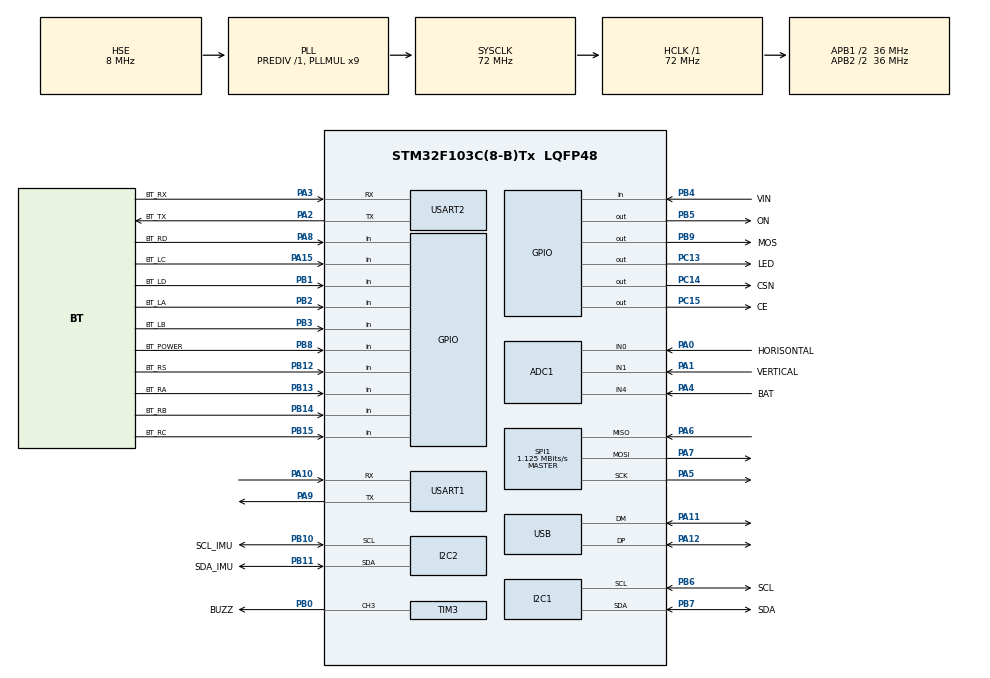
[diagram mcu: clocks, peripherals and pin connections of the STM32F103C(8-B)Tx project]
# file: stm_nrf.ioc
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ADC1.Channel-0\#ChannelRegularConversion=ADC_CHANNEL_0
ADC1.NbrOfConversionFlag=1
ADC1.Rank-0\#ChannelRegularConversion=1
ADC1.SamplingTime-0\#ChannelRegularConversion=ADC_SAMPLETIME_1CYCLE_5
ADC1.master=1
I2C1.I2C_Mode=I2C_Fast
I2C2.I2C_Mode=I2C_Fast
Mcu.Family=STM32F1
Mcu.Name=STM32F103C(8-B)Tx
Mcu.Package=LQFP48
NVIC.PriorityGroup=NVIC_PRIORITYGROUP_4
NVIC.USB_LP_CAN1_RX0_IRQn=true\:0\:0\:false\:false\:true\:false\:true
PA0-WKUP.GPIO_Label=HORISONTAL
PA0-WKUP.Signal=ADCx_IN0
PA1.GPIO_Label=VERTICAL
PA1.Signal=ADCx_IN1
PA10.Mode=Asynchronous
PA10.Signal=USART1_RX
PA11.Mode=Device
PA11.Signal=USB_DM
PA12.Mode=Device
PA12.Signal=USB_DP
PA13.Mode=Serial_Wire
PA13.Signal=SYS_JTMS-SWDIO
PA14.Mode=Serial_Wire
PA14.Signal=SYS_JTCK-SWCLK
PA15.GPIO_Label=BT_LC
PA15.Signal=GPIO_Input
PA2.GPIO_Label=BT_TX
PA2.Mode=Asynchronous
PA2.Signal=USART2_TX
PA3.GPIO_Label=BT_RX
PA3.Mode=Asynchronous
PA3.Signal=USART2_RX
PA4.GPIO_Label=BAT
PA4.Signal=ADCx_IN4
PA5.Mode=Full_Duplex_Master
PA5.Signal=SPI1_SCK
PA6.Mode=Full_Duplex_Master
PA6.Signal=SPI1_MISO
PA7.Mode=Full_Duplex_Master
PA7.Signal=SPI1_MOSI
PA8.GPIO_Label=BT_RD
PA8.Signal=GPIO_Input
PA9.Mode=Asynchronous
PA9.Signal=USART1_TX
PB0.GPIO_Label=BUZZ
PB0.Signal=S_TIM3_CH3
PB1.GPIO_Label=BT_LD
PB1.Signal=GPIO_Input
PB10.GPIO_Label=SCL_IMU
PB10.Mode=I2C
PB10.Signal=I2C2_SCL
PB11.GPIO_Label=SDA_IMU
PB11.Mode=I2C
PB11.Signal=I2C2_SDA
PB12.GPIO_Label=BT_RS
PB12.Signal=GPIO_Input
PB13.GPIO_Label=BT_RA
PB13.Signal=GPIO_Input
PB14.GPIO_Label=BT_RB
PB14.Signal=GPIO_Input
PB15.GPIO_Label=BT_RC
PB15.Signal=GPIO_Input
PB2.GPIO_Label=BT_LA
PB2.Signal=GPIO_Input
PB3.GPIO_Label=BT_LB
PB3.Signal=GPIO_Input
PB4.GPIO_Label=VIN
PB4.Signal=GPIO_Input
PB5.GPIO_Label=ON
PB5.Signal=GPIO_Output
PB6.GPIO_Label=SCL
PB6.Mode=I2C
PB6.Signal=I2C1_SCL
PB7.GPIO_Label=SDA
PB7.Mode=I2C
PB7.Signal=I2C1_SDA
PB8.GPIO_Label=BT_POWER
PB8.Signal=GPIO_Input
PB9.GPIO_Label=MOS
PB9.Signal=GPIO_Output
PC13-TAMPER-RTC.GPIO_Label=LED
PC13-TAMPER-RTC.Signal=GPIO_Output
PC14-OSC32_IN.GPIO_Label=CSN
PC14-OSC32_IN.Signal=GPIO_Output
PC15-OSC32_OUT.GPIO_Label=CE
PC15-OSC32_OUT.Signal=GPIO_Output
PD0-OSC_IN.Mode=HSE-External-Oscillator
PD0-OSC_IN.Signal=RCC_OSC_IN
PD1-OSC_OUT.Mode=HSE-External-Oscillator
PD1-OSC_OUT.Signal=RCC_OSC_OUT
ProjectManager.HeapSize=0x200
ProjectManager.StackSize=0x400
ProjectManager.TargetToolchain=STM32CubeIDE
RCC.ADCPresc=RCC_ADCPCLK2_DIV4
RCC.AHBFreq_Value=72000000
RCC.APB1CLKDivider=RCC_HCLK_DIV2
RCC.APB1Freq_Value=36000000
RCC.APB1TimFreq_Value=72000000
RCC.APB2CLKDivider=RCC_HCLK_DIV2
RCC.APB2Freq_Value=36000000
RCC.APB2TimFreq_Value=72000000
RCC.HCLKFreq_Value=72000000
RCC.PLLMUL=RCC_PLL_MUL9
RCC.SYSCLKFreq_VALUE=72000000
RCC.SYSCLKSource=RCC_SYSCLKSOURCE_PLLCLK
RCC.USBFreq_Value=48000000
RCC.USBPrescaler=RCC_USBCLKSOURCE_PLL_DIV1_5
SH.ADCx_IN0.0=ADC1_IN0,IN0
SH.ADCx_IN1.0=ADC1_IN1,IN1
SH.ADCx_IN4.0=ADC1_IN4,IN4
SH.S_TIM3_CH3.0=TIM3_CH3,PWM Generation3 CH3
SPI1.BaudRatePrescaler=SPI_BAUDRATEPRESCALER_32
SPI1.CalculateBaudRate=1.125 MBits/s
SPI1.Direction=SPI_DIRECTION_2LINES
SPI1.Mode=SPI_MODE_MASTER
SPI1.VirtualType=VM_MASTER
TIM3.Channel-PWM\ Generation3\ CH3=TIM_CHANNEL_3
USART1.VirtualMode=VM_ASYNC
USART2.VirtualMode=VM_ASYNC
USB_DEVICE.CLASS_NAME_FS=CDC
USB_DEVICE.VirtualMode=Cdc
USB_DEVICE.VirtualModeFS=Cdc_FS
VP_USB_DEVICE_VS_USB_DEVICE_CDC_FS.Mode=CDC_FS
board=custom

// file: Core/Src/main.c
/* USER CODE BEGIN Header */
/*

░░░░░██╗░█████╗░██╗░░░██╗░██████╗████████╗██╗░█████╗░██╗░░██╗
░░░░░██║██╔══██╗╚██╗░██╔╝██╔════╝╚══██╔══╝██║██╔══██╗██║░██╔╝
░░░░░██║██║░░██║░╚████╔╝░╚█████╗░░░░██║░░░██║██║░░╚═╝█████═╝░
██╗░░██║██║░░██║░░╚██╔╝░░░╚═══██╗░░░██║░░░██║██║░░██╗██╔═██╗░
╚█████╔╝╚█████╔╝░░░██║░░░██████╔╝░░░██║░░░██║╚█████╔╝██║░╚██╗
░╚════╝░░╚════╝░░░░╚═╝░░░╚═════╝░░░░╚═╝░░░╚═╝░╚════╝░╚═╝░░╚═╝

░░░░░██╗░░░░█████╗░░░░██████╗░░░░░█████╗░  ██╗░░░██╗░░███╗░░
░░░░░██║░░░██╔══██╗░░░██╔══██╗░░░██╔══██╗  ██║░░░██║░████║░░
░░░░░██║░░░██║░░██║░░░██║░░██║░░░██║░░██║  ╚██╗░██╔╝██╔██║░░
██╗░░██║░░░██║░░██║░░░██║░░██║░░░██║░░██║  ░╚████╔╝░╚═╝██║░░
╚█████╔╝██╗╚█████╔╝██╗██████╔╝██╗╚█████╔╝  ░░╚██╔╝░░███████╗
░╚════╝░╚═╝░╚════╝░╚═╝╚═════╝░╚═╝░╚════╝░  ░░░╚═╝░░░╚══════╝
*/
/* USER CODE END Header */

#include "main.h"
#include "usb_device.h"
/* USER CODE BEGIN Includes */
#include "my_usbd_customhid.h"
#include "my_usbd_custom_hid_if.h"
#include "my_icons.h"
#include "my_bitmaps.h"
#include "ssd1306.h"
#include "i2c-lcd.h"
#include "string.h"
#include "MY_NRF24.h"
#include "TJ_MPU6050.h"
/* USER CODE END Includes */

/* USER CODE BEGIN PTD */
#define FUNC_ACCEL_GYRO_DATA	128
#define FUNC_JOYSTICK_DATA		129
#define FUNC_ACCEL_GYRO_COMBO	130

#define ADS1115_ADDRESS 0x48

char Program_name[] = {
	'G','a','m','e','p','a','d',
	'S','M','i','c','r','o','m','o','u','s','e',
	'T','e','s','t','1',
	'T','e','s','t','2',
	'T','e','s','t','3',
	'T','e','s','t','4'};
int Program_length[] = {
	7,
	11,
	5,
	5,
	5,
	5,};
int Program_Count = 6;
int Program_Running;

char ADSwrite[6];

char Msg[16];
char Flag[8] = {0,0,0,0,0,0,0,0};
int IsHID = 0;
RawData_Def AccelData, GyroData;

uint64_t PipeAddres = 0x11223344AA;
char RF_RxData[32], RF_TxData[32], BadFunc;

uint8_t dataToSend[20] = {0x00, 0x14, 0x01, 0xEE, 0x0F, 0x00, 0x0F, 0x00, 0xFF, 0xFF, 0x00, 0x00, 0x00, 0x00, 0x00, 0x00, 0x00, 0x00, 0x00, 0x00};
//                        butns|size|     |     | lt  | rt  | lx        | ly        | rx        | ry        | unused
//                                    b10 & b9  & b7  & b8  & dr  & dl  & dd  & du
//

int Serial_Send(uint8_t* Buf, uint32_t *Len){
	CDC_Transmit_FS(Buf, Len);
	return &Len;
}

#define I2C1_SCL_Pin SCL_Pin
#define I2C1_SCL_GPIO_Port SCL_GPIO_Port
#define I2C1_SDA_Pin SDA_Pin
#define I2C1_SDA_GPIO_Port SDA_GPIO_Port

static bool wait_for_gpio_state_timeout(GPIO_TypeDef *port, uint16_t pin, GPIO_PinState state, uint32_t timeout)
 {
    uint32_t Tickstart = HAL_GetTick();
    bool ret = true;
    /* Wait until flag is set */
    for(;(state != HAL_GPIO_ReadPin(port, pin)) && (true == ret);)
    {
        /* Check for the timeout */
        if (timeout != HAL_MAX_DELAY)
        {
            if ((timeout == 0U) || ((HAL_GetTick() - Tickstart) > timeout))
            {
                ret = false;
            }
            else
            {
            }
        }
        asm("nop");
    }
    return ret;
}

static void I2C_ClearBusyFlagErratum(I2C_HandleTypeDef* handle, uint32_t timeout)
{
    GPIO_InitTypeDef GPIO_InitStructure;

    // 1. Clear PE bit.
    CLEAR_BIT(handle->Instance->CR1, I2C_CR1_PE);

    //  2. Configure the SCL and SDA I/Os as General Purpose Output Open-Drain, High level (Write 1 to GPIOx_ODR).
    HAL_I2C_DeInit(handle);

    GPIO_InitStructure.Mode = GPIO_MODE_OUTPUT_OD;
    GPIO_InitStructure.Pull = GPIO_NOPULL;

    GPIO_InitStructure.Pin = I2C1_SCL_Pin;
    HAL_GPIO_Init(GPIOB, &GPIO_InitStructure);

    GPIO_InitStructure.Pin = I2C1_SDA_Pin;
    HAL_GPIO_Init(I2C1_SDA_GPIO_Port, &GPIO_InitStructure);

    // 3. Check SCL and SDA High level in GPIOx_IDR.
    HAL_GPIO_WritePin(I2C1_SDA_GPIO_Port, I2C1_SDA_Pin, GPIO_PIN_SET);
    HAL_GPIO_WritePin(I2C1_SCL_GPIO_Port, I2C1_SCL_Pin, GPIO_PIN_SET);

    wait_for_gpio_state_timeout(I2C1_SCL_GPIO_Port, I2C1_SCL_Pin, GPIO_PIN_SET, timeout);
    wait_for_gpio_state_timeout(I2C1_SDA_GPIO_Port, I2C1_SDA_Pin, GPIO_PIN_SET, timeout);

    // 4. Configure the SDA I/O as General Purpose Output Open-Drain, Low level (Write 0 to GPIOx_ODR).
    HAL_GPIO_WritePin(I2C1_SDA_GPIO_Port, I2C1_SDA_Pin, GPIO_PIN_RESET);

    // 5. Check SDA Low level in GPIOx_IDR.
    wait_for_gpio_state_timeout(I2C1_SDA_GPIO_Port, I2C1_SDA_Pin, GPIO_PIN_RESET, timeout);

    // 6. Configure the SCL I/O as General Purpose Output Open-Drain, Low level (Write 0 to GPIOx_ODR).
    HAL_GPIO_WritePin(I2C1_SCL_GPIO_Port, I2C1_SCL_Pin, GPIO_PIN_RESET);

    // 7. Check SCL Low level in GPIOx_IDR.
    wait_for_gpio_state_timeout(I2C1_SCL_GPIO_Port, I2C1_SCL_Pin, GPIO_PIN_RESET, timeout);

    // 8. Configure the SCL I/O as General Purpose Output Open-Drain, High level (Write 1 to GPIOx_ODR).
    HAL_GPIO_WritePin(I2C1_SCL_GPIO_Port, I2C1_SCL_Pin, GPIO_PIN_SET);

    // 9. Check SCL High level in GPIOx_IDR.
    wait_for_gpio_state_timeout(I2C1_SCL_GPIO_Port, I2C1_SCL_Pin, GPIO_PIN_SET, timeout);

    // 10. Configure the SDA I/O as General Purpose Output Open-Drain , High level (Write 1 to GPIOx_ODR).
    HAL_GPIO_WritePin(I2C1_SDA_GPIO_Port, I2C1_SDA_Pin, GPIO_PIN_SET);

    // 11. Check SDA High level in GPIOx_IDR.
    wait_for_gpio_state_timeout(I2C1_SDA_GPIO_Port, I2C1_SDA_Pin, GPIO_PIN_SET, timeout);

    // 12. Configure the SCL and SDA I/Os as Alternate function Open-Drain.
    GPIO_InitStructure.Mode = GPIO_MODE_AF_OD;
    //MAT//GPIO_InitStructure.Alternate = GPIO_AF1_I2C1;

    GPIO_InitStructure.Pin = I2C1_SCL_Pin;
    HAL_GPIO_Init(I2C1_SCL_GPIO_Port, &GPIO_InitStructure);

    GPIO_InitStructure.Pin = I2C1_SDA_Pin;
    HAL_GPIO_Init(I2C1_SDA_GPIO_Port, &GPIO_InitStructure);

    // 13. Set SWRST bit in I2Cx_CR1 register.
    SET_BIT(handle->Instance->CR1, I2C_CR1_SWRST);
    asm("nop");

    /* 14. Clear SWRST bit in I2Cx_CR1 register. */
    CLEAR_BIT(handle->Instance->CR1, I2C_CR1_SWRST);
    asm("nop");

    /* 15. Enable the I2C peripheral by setting the PE bit in I2Cx_CR1 register */
    SET_BIT(handle->Instance->CR1, I2C_CR1_PE);
    asm("nop");

    // Call initialization function.
    HAL_I2C_Init(handle);
}
/*
static void I2C_ClearBusyFlagErratum2(I2C_HandleTypeDef* handle, uint32_t timeout)
{
    GPIO_InitTypeDef GPIO_InitStructure;

    // 1. Clear PE bit.
    CLEAR_BIT(handle->Instance->CR1, I2C_CR1_PE);

    //  2. Configure the SCL and SDA I/Os as General Purpose Output Open-Drain, High level (Write 1 to GPIOx_ODR).
    HAL_I2C_DeInit(handle);

    GPIO_InitStructure.Mode = GPIO_MODE_OUTPUT_OD;
    GPIO_InitStructure.Pull = GPIO_NOPULL;

    GPIO_InitStructure.Pin = I2C2_SCL_Pin;
    HAL_GPIO_Init(GPIOB, &GPIO_InitStructure);

    GPIO_InitStructure.Pin = I2C2_SDA_Pin;
    HAL_GPIO_Init(I2C2_SDA_GPIO_Port, &GPIO_InitStructure);

    // 3. Check SCL and SDA High level in GPIOx_IDR.
    HAL_GPIO_WritePin(I2C2_SDA_GPIO_Port, I2C2_SDA_Pin, GPIO_PIN_SET);
    HAL_GPIO_WritePin(I2C2_SCL_GPIO_Port, I2C2_SCL_Pin, GPIO_PIN_SET);

    wait_for_gpio_state_timeout(I2C2_SCL_GPIO_Port, I2C2_SCL_Pin, GPIO_PIN_SET, timeout);
    wait_for_gpio_state_timeout(I2C2_SDA_GPIO_Port, I2C2_SDA_Pin, GPIO_PIN_SET, timeout);

    // 4. Configure the SDA I/O as General Purpose Output Open-Drain, Low level (Write 0 to GPIOx_ODR).
    HAL_GPIO_WritePin(I2C2_SDA_GPIO_Port, I2C2_SDA_Pin, GPIO_PIN_RESET);

    // 5. Check SDA Low level in GPIOx_IDR.
    wait_for_gpio_state_timeout(I2C2_SDA_GPIO_Port, I2C2_SDA_Pin, GPIO_PIN_RESET, timeout);

    // 6. Configure the SCL I/O as General Purpose Output Open-Drain, Low level (Write 0 to GPIOx_ODR).
    HAL_GPIO_WritePin(I2C2_SCL_GPIO_Port, I2C2_SCL_Pin, GPIO_PIN_RESET);

    // 7. Check SCL Low level in GPIOx_IDR.
    wait_for_gpio_state_timeout(I2C2_SCL_GPIO_Port, I2C2_SCL_Pin, GPIO_PIN_RESET, timeout);

    // 8. Configure the SCL I/O as General Purpose Output Open-Drain, High level (Write 1 to GPIOx_ODR).
    HAL_GPIO_WritePin(I2C2_SCL_GPIO_Port, I2C2_SCL_Pin, GPIO_PIN_SET);

    // 9. Check SCL High level in GPIOx_IDR.
    wait_for_gpio_state_timeout(I2C2_SCL_GPIO_Port, I2C2_SCL_Pin, GPIO_PIN_SET, timeout);

    // 10. Configure the SDA I/O as General Purpose Output Open-Drain , High level (Write 1 to GPIOx_ODR).
    HAL_GPIO_WritePin(I2C2_SDA_GPIO_Port, I2C2_SDA_Pin, GPIO_PIN_SET);

    // 11. Check SDA High level in GPIOx_IDR.
    wait_for_gpio_state_timeout(I2C2_SDA_GPIO_Port, I2C2_SDA_Pin, GPIO_PIN_SET, timeout);

    // 12. Configure the SCL and SDA I/Os as Alternate function Open-Drain.
    GPIO_InitStructure.Mode = GPIO_MODE_AF_OD;
    //MAT//GPIO_InitStructure.Alternate = GPIO_AF1_I2C1;

    GPIO_InitStructure.Pin = I2C2_SCL_Pin;
    HAL_GPIO_Init(I2C2_SCL_GPIO_Port, &GPIO_InitStructure);

    GPIO_InitStructure.Pin = I2C1_SDA_Pin;
    HAL_GPIO_Init(I2C2_SDA_GPIO_Port, &GPIO_InitStructure);

    // 13. Set SWRST bit in I2Cx_CR1 register.
    SET_BIT(handle->Instance->CR1, I2C_CR1_SWRST);
    asm("nop");

    // 14. Clear SWRST bit in I2Cx_CR1 register.
    CLEAR_BIT(handle->Instance->CR1, I2C_CR1_SWRST);
    asm("nop");

    // 15. Enable the I2C peripheral by setting the PE bit in I2Cx_CR1 register
    SET_BIT(handle->Instance->CR1, I2C_CR1_PE);
    asm("nop");

    // Call initialization function.
    HAL_I2C_Init(handle);
}
*/
/* USER CODE END PTD */

ADC_HandleTypeDef hadc1;

I2C_HandleTypeDef hi2c1;
I2C_HandleTypeDef hi2c2;

SPI_HandleTypeDef hspi1;

TIM_HandleTypeDef htim3;

UART_HandleTypeDef huart1;
UART_HandleTypeDef huart2;

void SystemClock_Config(void);
static void MX_GPIO_Init(void);
static void MX_ADC1_Init(void);
static void MX_I2C1_Init(void);
static void MX_I2C2_Init(void);
static void MX_SPI1_Init(void);
static void MX_TIM3_Init(void);
static void MX_USART1_UART_Init(void);
static void MX_USART2_UART_Init(void);

/* USER CODE BEGIN 0 */
double MapValue(double Val, double FromLow,double FromHigh,double ToLow,double ToHigh){
	double out = ToLow + ((ToHigh - ToLow) / (FromHigh - FromLow)) * (Val - FromLow);
	if (out > ToHigh) out = ToHigh;
	if (out < ToLow) out - ToLow;
	return out;
}

void AdsRead(int16_t *buf){
	for (int a = 0; a < 4; a++){
		  ADSwrite[0] = 0x01;
		  switch(a){
		  case 0: {
			  ADSwrite[1] = 0xC1; // 11000011
			  break;
		  }
		  case 1: {
			  ADSwrite[1] = 0xD1; // 11010011
			  break;
		  }
		  case 2: {
			  ADSwrite[1] = 0xE1; // 11100011
			  break;
		  }
		  case 3: {
			  ADSwrite[1] = 0xF1; // 11110011
			  break;
		  }
		  }

		  ADSwrite[2] = 0xE3; // 10000011 // 10100011 // 11000011// 11100011
		  HAL_I2C_Master_Transmit(&hi2c2, ADS1115_ADDRESS<<1, ADSwrite, 3, 100);
		  ADSwrite[0] = 0x00;
		  HAL_I2C_Master_Transmit(&hi2c2, ADS1115_ADDRESS<<1, ADSwrite, 1, 100);
		  NRF24_DelayMicroSeconds(100);
		  HAL_I2C_Master_Receive(&hi2c2, ADS1115_ADDRESS<<1, ADSwrite, 2, 100);
		  buf[a] = (((int16_t)ADSwrite[0]) << 8 | ADSwrite[1]);
	  }
}

void AdcRead(int16_t *buf){
	HAL_ADC_Start(&hadc1);
	if (HAL_ADC_PollForConversion(&hadc1, 1000) == HAL_OK) {
		buf[0] = HAL_ADC_GetValue(&hadc1);
	}
	if (HAL_ADC_PollForConversion(&hadc1, 1000) == HAL_OK) {
		buf[1] = HAL_ADC_GetValue(&hadc1);
	}
	if (HAL_ADC_PollForConversion(&hadc1, 1000) == HAL_OK) {
		buf[2] = HAL_ADC_GetValue(&hadc1);
	}
	HAL_ADC_Stop(&hadc1);
}

void updateButtons()
{
	  int16_t Val[4];
	  AdsRead(Val);
	  Val[1] = (int16_t)MapValue(Val[1], 0, Val[0], 0, 10);
	  Val[2] = (int16_t)MapValue(Val[2], 0, Val[0], -32768, 32767);
	  Val[3] = (int16_t)MapValue(Val[3], 0, Val[0], -32768, 32767);
	  if ((Val[2] <= 3) && (Val[2] >= -3)) Val[2] = 0;
	  if ((Val[3] <= 3) && (Val[3] >= -3)) Val[3] = 0;
	  if (Val[1] > 5) Val[1] = 0; else Val[1] = 1;

	 int16_t Adc[3];
	 AdcRead(Adc);
	 Adc[0] = (int16_t)MapValue(Adc[0], 0, 4095, -32768, 32767);
	 Adc[1] = (int16_t)MapValue(Adc[1], 0, 4095, -32768, 32767);

	  ////////////////////////////////////////////////////////////////////////////////////////////////////
	// btns |rs|, |ls|, |select|, |start|, |dr|, |dl|, |dd|, |du|
	dataToSend[2] = 0;
	dataToSend[2] |= Val[1] << 0;
	dataToSend[2] |= !HAL_GPIO_ReadPin(BT_LC_GPIO_Port, BT_LC_Pin) << 1;
	dataToSend[2] |= !HAL_GPIO_ReadPin(BT_LB_GPIO_Port, BT_LB_Pin) << 2;
	dataToSend[2] |= !HAL_GPIO_ReadPin(BT_LD_GPIO_Port, BT_LD_Pin) << 3;
	//dataToSend[2] |= (readStart() & 1) << 4;
	//dataToSend[2] |= (readBack()  & 1) << 5;
	//dataToSend[2] |= (Val[1]  & 1) << 6;
	//dataToSend[2] |= (readRS() & 1) << 7;
	// btns |y|, |x|, |b|, |a|, _, _, |rb|, |lb|
	dataToSend[3] = 0;
	dataToSend[3] |= !HAL_GPIO_ReadPin(BT_LA_GPIO_Port, BT_LA_Pin)  & 1 << 0;
	dataToSend[3] |= !HAL_GPIO_ReadPin(BT_RA_GPIO_Port, BT_RA_Pin) << 1;
	//dataToSend[3] |= (Val[1] & 1) << 2;
	//dataToSend[3] |= (Val[1] & 1) << 3;
	dataToSend[3] |= !HAL_GPIO_ReadPin(BT_RC_GPIO_Port, BT_RC_Pin) << 4;
	dataToSend[3] |= !HAL_GPIO_ReadPin(BT_RB_GPIO_Port, BT_RB_Pin) << 5;
	dataToSend[3] |= !HAL_GPIO_ReadPin(BT_RD_GPIO_Port, BT_RD_Pin) << 6;
	dataToSend[3] |= !HAL_GPIO_ReadPin(BT_RS_GPIO_Port, BT_RS_Pin) << 7;
	// left & right triggers
	dataToSend[4] = 0; //left
	dataToSend[5] = 0; //right
	//lx
	dataToSend[6] = Val[3] & 0xFF;
	dataToSend[7] = (Val[3] >> 8) & 0xFF;
	// ly
	dataToSend[8] = Val[2] & 0xFF;
	dataToSend[9] = (Val[2] >> 8) & 0xFF;
	// rx
	dataToSend[10] = Adc[1] & 0xFF;
	dataToSend[11] = (Adc[1] >> 8) & 0xFF;
	// ry
	dataToSend[12] = Adc[0] & 0xFF;
	dataToSend[13] = (Adc[0] >> 8) & 0xFF;
}

void UlToStr(char *s, unsigned long bin, unsigned char n)
{
    s += n;
    *s = '\0';

    while (n--)
    {
        *--s = (bin % 10) + '0';
        bin /= 10;
    }
}

void Serial_Recived(uint8_t* Buf, uint32_t *Len){
	switch(Buf[0]){
	case '0': {
		HAL_GPIO_WritePin(LED_GPIO_Port, LED_Pin, 1);
		Msg[0] = 'O';
		Msg[1] = 'N';
		Serial_Send(Msg, 2);
		break;
	}
	case '1': {
		HAL_GPIO_WritePin(LED_GPIO_Port, LED_Pin, 0);
		Msg[0] = 'O';
		Msg[1] = 'F';
		Serial_Send(Msg, 2);
		break;
	}
	case '2': {
		HAL_GPIO_WritePin(LED_GPIO_Port, LED_Pin, 0);
		Msg[0] = FUNC_ACCEL_GYRO_DATA;
		Serial_Send(Msg, 1);
		break;
	}
	case '3': {
		HAL_GPIO_WritePin(LED_GPIO_Port, LED_Pin, 0);
		int16_t Ax = 1024;
		int16_t Ay = -1024;
		int16_t Az = 32767;
		int16_t Gx = -32767;
		int16_t Gy = 255;
		int16_t Gz = -255;
		Msg[0] = FUNC_ACCEL_GYRO_DATA;
		Msg[1] = (char)Ax;
		Msg[2] = (char)(Ax >> 8);
		Msg[3] = (char)Ay;
		Msg[4] = (char)(Ay >> 8);
		Msg[5] = (char)Az;
		Msg[6] = (char)(Az >> 8);
		Msg[7] = (char)Gx;
		Msg[8] = (char)(Gx >> 8);
		Msg[9] = (char)Gy;
		Msg[10] = (char)(Gy >> 8);
		Msg[11] = (char)Gz;
		Msg[12] = (char)(Gz >> 8);

		Serial_Send(Msg, 13);
	}
	case 'a': {
		Flag[0] = 1;
		break;
	}
	case 'b': {
		Flag[1] = 1;
		break;
	}
	case 'B': {
		Flag[1] = 0;
		break;
	}
	case 'c': {
		Flag[2] = 1;
		break;
	}
	case 'd': {
		Flag[3] = 1;
		break;
	}
	case 'D': {
		Flag[3] = 0;
		break;
	}
	case FUNC_JOYSTICK_DATA: {
		//Flag[4] = 1;
		//BadFunc = 0;
		// Funkcja FUNC_JOYSTICK_DATA
		RF_TxData[0] = FUNC_JOYSTICK_DATA;
		RF_TxData[1] = Buf[1];
		RF_TxData[2] = Buf[2];
		RF_TxData[3] = Buf[3];
		RF_TxData[4] = Buf[4];
		break;
	}
	default: {
		if (Buf[0] >= 128){
			RF_TxData[0] = Buf[0];
			for (int a = 1; a < *Len; a ++){
				RF_TxData[a] = Buf[a];
			}
		}else {
			Flag[4] = 1;
			BadFunc = Buf[0];
		}
	}
	}
}

// Fast = 0 -> wykona sie rysowanie na ekranie
// Fast = 1 -> Wykona sie tylko sprawdzenie napiecia beterii
void Update(int Fast){
	if (HAL_GPIO_ReadPin(VIN_GPIO_Port, VIN_Pin)){
		// Zasilanie na USB
		HAL_GPIO_WritePin(ON_GPIO_Port, ON_Pin, 0);
		if (HAL_GPIO_ReadPin(BT_POWER_GPIO_Port, BT_POWER_Pin)){
			// Mosfet i tak przeskoczy, przerwa w zasilaniu zresetuje procka
		}
		// Ikona zasilania z usb
		if (Fast < 1){
			SSD1306_DrawIcon16x16(0,48, plug_icon16x16);
			SSD1306_UpdateScreen();
		}
	} else {
		// Zasilanie na Baterii
		if (HAL_GPIO_ReadPin(BT_POWER_GPIO_Port, BT_POWER_Pin)){
			// Wyłączyć
			SSD1306_Fill(0);
			SSD1306_GotoXY(20, 20);
			SSD1306_Puts("Byo :D", &Font_16x26, 1);
			SSD1306_UpdateScreen();
			HAL_Delay(1000);
			HAL_GPIO_WritePin(ON_GPIO_Port, ON_Pin, 0);
			HAL_Delay(1000);
		} else {
			// Ikona naładowania
			HAL_GPIO_WritePin(ON_GPIO_Port, ON_Pin, 1);
			int16_t Val[3];
			AdcRead(Val);
			int bat = MapValue(Val[2], 0,4095 , 0, 1000);
			if (Fast < 1){
				if (bat > 390) {
					SSD1306_DrawIcon16x16(0,48, bat3_icon16x16);
				} else if (bat > 360) {
					SSD1306_DrawIcon16x16(0,48, bat2_icon16x16);
				} else if (bat > 330) {
					SSD1306_DrawIcon16x16(0,48, bat1_icon16x16);
				} else if (bat > 300) {
					SSD1306_DrawIcon16x16(0,48, bat0_icon16x16);
				}
			}
			if (bat <= 300){
				// Bateria rozładowana, wyłączenie
				SSD1306_Fill(0);
				SSD1306_GotoXY(20, 20);
				SSD1306_Puts("Battery", &Font_16x26, 1);
				SSD1306_GotoXY(20, 40);
				SSD1306_Puts("is flat", &Font_16x26, 1);
				SSD1306_UpdateScreen();
				HAL_Delay(1000);
				//SSD1306_DrawIcon16x16(0,48, cancel_icon16x16);
				//HAL_GPIO_WritePin(ON_GPIO_Port, ON_Pin, 0);
				//HAL_Delay(3000);
			}
			//SSD1306_UpdateScreen();
		}
	}
	if (Fast < 1){
		SSD1306_UpdateScreen();
		SSD1306_Fill(0);
	}
}

void Begin(){
	SSD1306_Fill(0);
	SSD1306_DrawBitmap(0, 0, logo_128x64, 128, 64);
	SSD1306_UpdateScreen();
	HAL_Delay(1000);
}

int SelectProgram(){
	int s_row = 0;
	int sel = 0;
	int B = 0;
	int D = 0;
	while(1){
		SSD1306_Fill(0);
		SSD1306_GotoXY(0, 0);
		SSD1306_Puts("Program Sel", &Font_11x18, 1);
		int start = 0;
		for (int a = 0; a < s_row; a++){
			start+=Program_length[a];
		}
		for (int num = 0; num < 3; num++){
			if (num + s_row > Program_Count-1) break;
			SSD1306_GotoXY(20, 20 + num*16);
			for (int c = 0; c < Program_length[s_row+num]; c++){
				SSD1306_Putc(Program_name[c + start], &Font_7x10, 1);
			}
			start+=Program_length[num+s_row];
		}
		SSD1306_DrawIcon16x16(0, 20-4 + (sel-s_row)*16, arrow_right_icon16x16);
		SSD1306_UpdateScreen();
		HAL_Delay(100);
		while(1){
			if (!HAL_GPIO_ReadPin(BT_RD_GPIO_Port, BT_RD_Pin)){
				if (B == 0){
					sel--;
					B = 1;
					break;
				}
			} else B = 0;
			if (!HAL_GPIO_ReadPin(BT_RB_GPIO_Port, BT_RB_Pin)){
				if (D == 0){
					sel++;
					D = 1;
					break;
				}
			} else D = 0;
			if (!HAL_GPIO_ReadPin(BT_RC_GPIO_Port, BT_RC_Pin)) return sel;
		}
		if (sel - 2> s_row) {	// Scroll w dół
			s_row++;
		}
		if (sel < s_row) {		// scroll w górę
			s_row--;
		}
		if (s_row + 3 > Program_Count) {	// Przepełnienie w dół
			s_row = sel = 0;
		}
		if (s_row < 0) {		// Przepelnienie w górę
			s_row = Program_Count-3;
			sel = Program_Count-1;
		}
	}
}

void InitDevice_NRF(){
	NRF24_begin(CSN_GPIO_Port, CSN_Pin, CE_Pin, hspi1);
	NRF24_setAutoAck(true);
	NRF24_setChannel(52);
	NRF24_setPayloadSize(13);
	NRF24_openReadingPipe(1, PipeAddres);
	NRF24_enableDynamicPayloads();
	NRF24_enableAckPayload();
	NRF24_startListening();
}

void InitDevice_MPU(){
	MPU_ConfigTypeDef MpuConfig;
	MPU6050_Init(&hi2c1);
	MpuConfig.Accel_Full_Scale = AFS_SEL_4g;
	MpuConfig.ClockSource = Internal_8MHz;
	MpuConfig.CONFIG_DLPF = DLPF_184A_188G_Hz;
	MpuConfig.Gyro_Full_Scale = FS_SEL_500;
	MpuConfig.Sleep_Mode_Bit = 0;
	MPU6050_Config(&MpuConfig);
}

void Init_Test(){
	SSD1306_Fill(0);
	SSD1306_GotoXY(0, 0);
	SSD1306_Puts("Program", &Font_11x18, 1);
	SSD1306_GotoXY(0, 20);
	SSD1306_Puts("testowy", &Font_11x18, 1);
	SSD1306_UpdateScreen();
}

void Loop_Test(){

}

void Init_Gamepad(){
	my_MX_USB_DEVICE_Init();
	InitDevice_MPU();
	SSD1306_Fill(0);
	SSD1306_GotoXY(0, 0);
	SSD1306_Puts("GAMEPAD", &Font_11x18, 1);
	updateButtons();
	SSD1306_UpdateScreen();
}

void Loop_Gamepad(){
	updateButtons();
	USBD_CUSTOM_HID_SendReport(&hUsbDeviceFS, dataToSend, 20);
	HAL_Delay(10);
}

void Init_SMicromouse(){
	MX_USB_DEVICE_Init();
	InitDevice_MPU();
	InitDevice_NRF();
	SSD1306_Fill(0);
	SSD1306_GotoXY(0, 0);
	SSD1306_Puts("Micromouse", &Font_11x18, 1);
	SSD1306_UpdateScreen();
}

void Loop_SMicromouse(){
	if (NRF24_available()){
		HAL_GPIO_TogglePin(LED_GPIO_Port, LED_Pin);
		NRF24_read(RF_RxData, 13);
		Serial_Send(RF_RxData, 13);
		NRF24_writeAckPayload(1, RF_TxData, 16);
		// BARDZO ISTOTNE, I2C i NRF ZAKLOCAJA SIE JAKOS, DLA TEGO DANE ZBIERAMY PO TRANSMISJI NRF
		// ZAKLOCENIA NADAL WYSTEPUJA ALE RZADZIEJ, JE WYELIMINOWAC TRZEBA INACZEJ ??
		// Ustawienie funkcji
		RF_TxData[0] = 0;
		int16_t Val[4];
		if (Flag[3] == 1) {
		  // Ustawienie funkcji
		  RF_TxData[0] = FUNC_JOYSTICK_DATA;
		  // Odczyt z ADS1115
		  for (int a = 0; a < 4; a++){
			  ADSwrite[0] = 0x01;
			  switch(a){
			  case 0: {
				  ADSwrite[1] = 0xC1; // 11000011
				  break;
			  }
			  case 1: {
				  ADSwrite[1] = 0xD1; // 11010011
				  break;
			  }
			  case 2: {
				  ADSwrite[1] = 0xE1; // 11100011
				  break;
			  }
			  case 3: {
				  ADSwrite[1] = 0xF1; // 11110011
				  break;
			  }
			  }
			  /*
			  __HAL_RCC_I2C2_FORCE_RESET();
			  __HAL_RCC_I2C2_RELEASE_RESET();
			  MX_I2C2_Init();
			  __HAL_RCC_I2C2_FORCE_RESET();
			  __HAL_RCC_I2C2_RELEASE_RESET();
			  MX_I2C2_Init();*/

			  ADSwrite[2] = 0xE3; // 10000011 // 10100011 // 11000011// 11100011
			  HAL_I2C_Master_Transmit(&hi2c2, ADS1115_ADDRESS<<1, ADSwrite, 3, 100);
			  ADSwrite[0] = 0x00;
			  HAL_I2C_Master_Transmit(&hi2c2, ADS1115_ADDRESS<<1, ADSwrite, 1, 100);
			  //HAL_Delay(1);
			  NRF24_DelayMicroSeconds(100);
			  HAL_I2C_Master_Receive(&hi2c2, ADS1115_ADDRESS<<1, ADSwrite, 2, 100);

			  //RF_TxData[1 + a*2] = ADSwrite[1];
			  //RF_TxData[1 + a*2 + 1] = ADSwrite[0];
			  Val[a] = (((int16_t)ADSwrite[0]) << 8 | ADSwrite[1]);
			}
		  //Val[1] = (int16_t)MapValue(Val[1], 0, Val[0], -1023, 1023);
		  Val[2] = (int16_t)MapValue(Val[2], 0, Val[0], -1023, 1023) - 22;
		  Val[3] = (int16_t)MapValue(Val[3], 0, Val[0], -1023, 1023) - 22;
		  //Val[0] = (int16_t)MapValue(Val[0], 0, Val[0], -1023, 1023);

		  if ((Val[2] <= 6) && (Val[2] >= -6)) Val[2] = 0;
		  if ((Val[3] <= 6) && (Val[3] >= -6)) Val[3] = 0;

		  RF_TxData[1] = Val[2];
		  RF_TxData[2] = Val[2] >> 8;
		  RF_TxData[3] = Val[3];
		  RF_TxData[4] = Val[3] >> 8;

		  // Nastepne odczyty...

		}
		}
		if (Flag[4] == 1){
		Flag[4] = 0;
		char Bad[6] = {'B', 'A', 'D', '(', BadFunc, ')'};
		Serial_Send(Bad, 6);
		HAL_Delay(1000);
		Bad[0] = BadFunc;
		Serial_Send(Bad, 6);
		}
		if ((Flag[0] == 1) || (Flag[1] == 1)) {
		Flag[0] = 0;

		I2C_ClearBusyFlagErratum(&hi2c1, 1000);

		__HAL_RCC_I2C1_FORCE_RESET();
		__HAL_RCC_I2C1_RELEASE_RESET();
		MX_I2C1_Init();
		__HAL_RCC_I2C1_FORCE_RESET();
		__HAL_RCC_I2C1_RELEASE_RESET();
		MX_I2C1_Init();

		//HAL_GPIO_WritePin(LED_GPIO_Port, LED_Pin, 0);

		MPU6050_Get_Accel_RawData(&AccelData);	// Najpier trzeba akcelerometr
		MPU6050_Get_Gyro_RawData(&GyroData);		// Potem zyroskop

		Msg[0] = FUNC_ACCEL_GYRO_DATA;
		Msg[1] = AccelData.x;
		Msg[2] = AccelData.x >> 8;
		Msg[3] = AccelData.y;
		Msg[4] = AccelData.y >> 8;
		Msg[5] = AccelData.z;
		Msg[6] = AccelData.z >> 8;

		Msg[7] = GyroData.x;
		Msg[8] = GyroData.x >> 8;
		Msg[9] = GyroData.y;
		Msg[10] = GyroData.y >> 8;
		Msg[11] = GyroData.z;
		Msg[12] = GyroData.z >> 8;

		Serial_Send(Msg, 13);
		HAL_Delay(10);
		}
		if (Flag[2] == 1){
		Flag[2] = 0;
		// Odczyt z ADS1115
		int16_t Val[4];
		for (int a = 0; a < 4; a++){
		  ADSwrite[0] = 0x01;
		  switch(a){
		  case 0: {
			  ADSwrite[1] = 0xC1; // 11000011
			  break;
		  }
		  case 1: {
			  ADSwrite[1] = 0xD1; // 11010011
			  break;
		  }
		  case 2: {
			  ADSwrite[1] = 0xE1; // 11100011
			  break;
		  }
		  case 3: {
			  ADSwrite[1] = 0xF1; // 11110011
			  break;
		  }
		  }

		  /*
		  __HAL_RCC_I2C2_FORCE_RESET();
		  __HAL_RCC_I2C2_RELEASE_RESET();
		  MX_I2C2_Init();
		  __HAL_RCC_I2C2_FORCE_RESET();
		  __HAL_RCC_I2C2_RELEASE_RESET();
		  MX_I2C2_Init();*/

		  ADSwrite[2] = 0xE3; // 10000011 // 10100011 // 11000011// 11100011
		  HAL_I2C_Master_Transmit(&hi2c2, ADS1115_ADDRESS<<1, ADSwrite, 3, 100);
		  ADSwrite[0] = 0x00;
		  HAL_I2C_Master_Transmit(&hi2c2, ADS1115_ADDRESS<<1, ADSwrite, 1, 100);
		  //HAL_Delay(1);
		  NRF24_DelayMicroSeconds(100);
		  HAL_I2C_Master_Receive(&hi2c2, ADS1115_ADDRESS<<1, ADSwrite, 2, 100);

		  //Msg[1 + a*2] = ADSwrite[1];
		  //Msg[1 + a*2 + 1] = ADSwrite[0];
		  Val[a] = (((int16_t)ADSwrite[0]) << 8 | ADSwrite[1]);
		  //Serial_Send("ELO", 3);

		}

		Val[1] = (int16_t)MapValue(Val[1], 0, Val[0], -1023, 1023);
		Val[2] = (int16_t)MapValue(Val[2], 0, Val[0], -1023, 1023) - 22;
		Val[3] = (int16_t)MapValue(Val[3], 0, Val[0], -1023, 1023) -22;
		Val[0] = (int16_t)MapValue(Val[0], 0, Val[0], -1023, 1023);

		if ((Val[2] <= 3) && (Val[2] >= -3)) Val[2] = 0;
		if ((Val[3] <= 3) && (Val[3] >= -3)) Val[3] = 0;

		Msg[0] = FUNC_JOYSTICK_DATA;
		Msg[1] = Val[2];
		Msg[2] = Val[2] >> 8;
		Msg[3] = Val[3];
		Msg[4] = Val[3] >> 8;
		if (Val[1] > 0) Msg[5] = 0; else Msg[5] = 128;
		if (HAL_GPIO_ReadPin(BT_LA_GPIO_Port, BT_LA_Pin) == GPIO_PIN_RESET) Msg[5] += 64;
		if (HAL_GPIO_ReadPin(BT_LB_GPIO_Port, BT_LB_Pin) == GPIO_PIN_RESET) Msg[5] += 32;
		if (HAL_GPIO_ReadPin(BT_LC_GPIO_Port, BT_LC_Pin) == GPIO_PIN_RESET) Msg[5] += 16;
		if (HAL_GPIO_ReadPin(BT_LD_GPIO_Port, BT_LD_Pin) == GPIO_PIN_RESET) Msg[5] += 8;

		if (HAL_GPIO_ReadPin(BT_POWER_GPIO_Port, BT_POWER_Pin) == GPIO_PIN_SET) Msg[5] += 1;

		Msg[6] = 0;
		Msg[7] = 0;
		Msg[8] = 0;
		Msg[9] = 0;

		Msg[10] = 0;
		if (HAL_GPIO_ReadPin(BT_RS_GPIO_Port, BT_RS_Pin) == GPIO_PIN_RESET) Msg[10] += 128;
		if (HAL_GPIO_ReadPin(BT_RA_GPIO_Port, BT_RA_Pin) == GPIO_PIN_RESET) Msg[10] += 64;
		if (HAL_GPIO_ReadPin(BT_RB_GPIO_Port, BT_RB_Pin) == GPIO_PIN_RESET) Msg[10] += 32;
		if (HAL_GPIO_ReadPin(BT_RC_GPIO_Port, BT_RC_Pin) == GPIO_PIN_RESET) Msg[10] += 16;
		if (HAL_GPIO_ReadPin(BT_RD_GPIO_Port, BT_RD_Pin) == GPIO_PIN_RESET) Msg[10] += 8;

		// Nastepne odczyty

		//RF_TXData[5] = HAL_GPIO_ReadPin(GPIOC, GPIO_PIN_13)

		Serial_Send(Msg, 11);

		}
}

/* USER CODE END 0 */

int main(void)
{

  /* MCU Configuration--------------------------------------------------------*/

void Update(){
	if (HAL_GPIO_ReadPin(VIN_GPIO_Port, VIN_Pin)){
		// Zasilanie na USB
		HAL_GPIO_WritePin(ON_GPIO_Port, ON_Pin, 0);
		if (HAL_GPIO_ReadPin(BT_POWER_GPIO_Port, BT_POWER_Pin)){
			// Mosfet i tak przeskoczy, przerwa w zasilaniu zresetuje procka
		}
		// Ikona zasilania z usb
		SSD1306_DrawIcon16x16(0,48, plug_icon16x16);
		SSD1306_UpdateScreen();
	} else {
		// Zasilanie na Baterii
		if (HAL_GPIO_ReadPin(BT_POWER_GPIO_Port, BT_POWER_Pin)){
			// Wyłączyć
			SSD1306_Fill(0);
			SSD1306_GotoXY(20, 20);
			SSD1306_Puts("Byo :D", &Font_16x26, 1);
			SSD1306_UpdateScreen();
			HAL_Delay(1000);
			HAL_GPIO_WritePin(ON_GPIO_Port, ON_Pin, 0);
			HAL_Delay(1000);
		} else {
			// Ikona naładowania
			HAL_GPIO_WritePin(ON_GPIO_Port, ON_Pin, 1);
			int16_t Val[3];
			AdcRead(Val);
			int bat = MapValue(Val[2], 0,4095 , 0, 1000);
			if (bat > 390) {
				SSD1306_DrawIcon16x16(0,48, bat3_icon16x16);
			} else if (bat > 360) {
				SSD1306_DrawIcon16x16(0,48, bat2_icon16x16);
			} else if (bat > 330) {
				SSD1306_DrawIcon16x16(0,48, bat1_icon16x16);
			} else if (bat > 300) {
				SSD1306_DrawIcon16x16(0,48, bat0_icon16x16);
			} else {
				// Bateria rozładowana, wyłączenie
				SSD1306_Fill(0);
				SSD1306_GotoXY(20, 20);

				SSD1306_Puts("Battery", &Font_16x26, 1);
				SSD1306_GotoXY(20, 40);
				SSD1306_Puts("is flat", &Font_16x26, 1);
				SSD1306_UpdateScreen();
				HAL_Delay(1000);
				//SSD1306_DrawIcon16x16(0,48, cancel_icon16x16);
				//HAL_GPIO_WritePin(ON_GPIO_Port, ON_Pin, 0);
				//HAL_Delay(3000);
			}
			//SSD1306_UpdateScreen();
		}
	}
}

void Begin(){
	SSD1306_Fill(0);
	SSD1306_DrawBitmap(0, 0, logo_128x64, 128, 64);
	SSD1306_UpdateScreen();
	HAL_Delay(1000);
}

int SelectProgram(){
	int s_row = 0;
	int sel = 0;
	int B = 0;
	int D = 0;
	while(1){
		SSD1306_Fill(0);
		SSD1306_GotoXY(0, 0);
		SSD1306_Puts("Program Sel", &Font_11x18, 1);
		int start = 0;
		for (int a = 0; a < s_row; a++){
			start+=Program_length[a];
		}
		for (int num = 0; num < 3; num++){
			if (num + s_row > Program_Count-1) break;
			SSD1306_GotoXY(20, 20 + num*16);
			for (int c = 0; c < Program_length[s_row+num]; c++){
				SSD1306_Putc(Program_name[c + start], &Font_7x10, 1);
			}
			start+=Program_length[num+s_row];
		}
		SSD1306_DrawIcon16x16(0, 20-4 + (sel-s_row)*16, arrow_right_icon16x16);
		SSD1306_UpdateScreen();
		HAL_Delay(100);
		while(1){
			if (!HAL_GPIO_ReadPin(BT_RD_GPIO_Port, BT_RD_Pin)){
				if (B == 0){
					sel--;
					B = 1;
					break;
				}
			} else B = 0;
			if (!HAL_GPIO_ReadPin(BT_RB_GPIO_Port, BT_RB_Pin)){
				if (D == 0){
					sel++;
					D = 1;
					break;
				}
			} else D = 0;
			if (!HAL_GPIO_ReadPin(BT_RC_GPIO_Port, BT_RC_Pin)) return sel;
		}
		if (sel - 2> s_row) {	// Scroll w dół
			s_row++;
		}
		if (sel < s_row) {		// scroll w górę
			s_row--;
		}
		if (s_row + 3 > Program_Count) {	// Przepełnienie w dół
			s_row = sel = 0;
		}
		if (s_row < 0) {		// Pzrepelnienie w górę
			s_row = Program_Count-3;
			sel = Program_Count-1;
		}
	}
}

void InitDevice_NRF(){
	NRF24_begin(CSN_GPIO_Port, CSN_Pin, CE_Pin, hspi1);
	NRF24_setAutoAck(true);
	NRF24_setChannel(52);
	NRF24_setPayloadSize(13);
	NRF24_openReadingPipe(1, PipeAddres);
	NRF24_enableDynamicPayloads();
	NRF24_enableAckPayload();
	NRF24_startListening();
}

void InitDevice_MPU(){
	MPU_ConfigTypeDef MpuConfig;
	MPU6050_Init(&hi2c1);
	MpuConfig.Accel_Full_Scale = AFS_SEL_4g;
	MpuConfig.ClockSource = Internal_8MHz;
	MpuConfig.CONFIG_DLPF = DLPF_184A_188G_Hz;
	MpuConfig.Gyro_Full_Scale = FS_SEL_500;
	MpuConfig.Sleep_Mode_Bit = 0;
	MPU6050_Config(&MpuConfig);
}

void Init_Test(){

  /* Initialize all configured peripherals */
  MX_GPIO_Init();
  MX_ADC1_Init();
  MX_I2C1_Init();
  MX_I2C2_Init();
  MX_SPI1_Init();
  MX_TIM3_Init();
  MX_USART1_UART_Init();
  MX_USART2_UART_Init();
  //MX_USB_DEVICE_Init();
  /* USER CODE BEGIN 2 */

// Zasilanie
  if (!HAL_GPIO_ReadPin(VIN_GPIO_Port, VIN_Pin)){
	  // Zasilanie bateryjne
    HAL_GPIO_WritePin(ON_GPIO_Port, ON_Pin, 1);
  }
// Reanimacja I2C
  I2C_ClearBusyFlagErratum(&hi2c1, 1000);
  __HAL_RCC_I2C1_FORCE_RESET();
  __HAL_RCC_I2C1_RELEASE_RESET();
  MX_I2C1_Init();
  __HAL_RCC_I2C1_FORCE_RESET();
  __HAL_RCC_I2C1_RELEASE_RESET();
  MX_I2C1_Init();
  //I2C_ClearBusyFlagErratum2(&hi2c2, 1000);
  __HAL_RCC_I2C2_FORCE_RESET();
  __HAL_RCC_I2C2_RELEASE_RESET();
  MX_I2C2_Init();
  __HAL_RCC_I2C2_FORCE_RESET();
  __HAL_RCC_I2C2_RELEASE_RESET();
  MX_I2C2_Init();
// Ekran
  SSD1306_Init ();
//
  	Begin();
	Program_Running = SelectProgram();
	switch (Program_Running){
		case 0: {
			Init_Gamepad();
			break;
		}
		case 1: {
			Init_SMicromouse();
			break;
		}
		default:  {
			Init_Test();
			break;
		}
	}
	Update(0);
  /* USER CODE END 2 */

  /* Infinite loop */
  /* USER CODE BEGIN WHILE */
  while (1)
  {

	switch (Program_Running){
		case 0: {
			Loop_Gamepad();
			Update(1);
			break;
		}
		case 1: {
			Loop_SMicromouse();
			Update(1);
			break;
		}
		default:  {
			Loop_Test();
			Update(0);
			break;
		}
	}

    /* USER CODE END WHILE */

  }
}

void SystemClock_Config(void)
{
  RCC_OscInitTypeDef RCC_OscInitStruct = {0};
  RCC_ClkInitTypeDef RCC_ClkInitStruct = {0};
  RCC_PeriphCLKInitTypeDef PeriphClkInit = {0};

  /** Initializes the CPU, AHB and APB busses clocks
  */
  RCC_OscInitStruct.OscillatorType = RCC_OSCILLATORTYPE_HSE;
  RCC_OscInitStruct.HSEState = RCC_HSE_ON;
  RCC_OscInitStruct.HSEPredivValue = RCC_HSE_PREDIV_DIV1;
  RCC_OscInitStruct.HSIState = RCC_HSI_ON;
  RCC_OscInitStruct.PLL.PLLState = RCC_PLL_ON;
  RCC_OscInitStruct.PLL.PLLSource = RCC_PLLSOURCE_HSE;
  RCC_OscInitStruct.PLL.PLLMUL = RCC_PLL_MUL9;
  if (HAL_RCC_OscConfig(&RCC_OscInitStruct) != HAL_OK)
  {
    Error_Handler();
  }
  /** Initializes the CPU, AHB and APB busses clocks
  */
  RCC_ClkInitStruct.ClockType = RCC_CLOCKTYPE_HCLK|RCC_CLOCKTYPE_SYSCLK
                              |RCC_CLOCKTYPE_PCLK1|RCC_CLOCKTYPE_PCLK2;
  RCC_ClkInitStruct.SYSCLKSource = RCC_SYSCLKSOURCE_PLLCLK;
  RCC_ClkInitStruct.AHBCLKDivider = RCC_SYSCLK_DIV1;
  RCC_ClkInitStruct.APB1CLKDivider = RCC_HCLK_DIV2;
  RCC_ClkInitStruct.APB2CLKDivider = RCC_HCLK_DIV2;

  if (HAL_RCC_ClockConfig(&RCC_ClkInitStruct, FLASH_LATENCY_2) != HAL_OK)
  {
    Error_Handler();
  }
  PeriphClkInit.PeriphClockSelection = RCC_PERIPHCLK_ADC|RCC_PERIPHCLK_USB;
  PeriphClkInit.AdcClockSelection = RCC_ADCPCLK2_DIV4;
  PeriphClkInit.UsbClockSelection = RCC_USBCLKSOURCE_PLL_DIV1_5;
  if (HAL_RCCEx_PeriphCLKConfig(&PeriphClkInit) != HAL_OK)
  {
    Error_Handler();
  }
}

static void MX_ADC1_Init(void)
{

  ADC_ChannelConfTypeDef sConfig = {0};

  /** Common config
  */
  hadc1.Instance = ADC1;
  hadc1.Init.ScanConvMode = ADC_SCAN_ENABLE;
  hadc1.Init.ContinuousConvMode = ENABLE;
  hadc1.Init.DiscontinuousConvMode = DISABLE;
  hadc1.Init.ExternalTrigConv = ADC_SOFTWARE_START;
  hadc1.Init.DataAlign = ADC_DATAALIGN_RIGHT;
  hadc1.Init.NbrOfConversion = 3;
  if (HAL_ADC_Init(&hadc1) != HAL_OK)
  {
    Error_Handler();
  }
  /** Configure Regular Channel
  */
  sConfig.Channel = ADC_CHANNEL_0;
  sConfig.Rank = ADC_REGULAR_RANK_1;
  sConfig.SamplingTime = ADC_SAMPLETIME_239CYCLES_5;
  if (HAL_ADC_ConfigChannel(&hadc1, &sConfig) != HAL_OK)
  {
    Error_Handler();
  }
  /* USER CODE BEGIN ADC1_Init 2 */
  sConfig.Channel = ADC_CHANNEL_1;
  sConfig.Rank = ADC_REGULAR_RANK_3;
  sConfig.SamplingTime = ADC_SAMPLETIME_239CYCLES_5;
  if (HAL_ADC_ConfigChannel(&hadc1, &sConfig) != HAL_OK)
  {
	Error_Handler();
  }
  sConfig.Channel = ADC_CHANNEL_4;
  sConfig.Rank = ADC_REGULAR_RANK_2;
  sConfig.SamplingTime = ADC_SAMPLETIME_239CYCLES_5;
  if (HAL_ADC_ConfigChannel(&hadc1, &sConfig) != HAL_OK)
  {
	Error_Handler();
  }
  /* USER CODE END ADC1_Init 2 */

}

static void MX_I2C1_Init(void)
{

  hi2c1.Instance = I2C1;
  hi2c1.Init.ClockSpeed = 400000;
  hi2c1.Init.DutyCycle = I2C_DUTYCYCLE_2;
  hi2c1.Init.OwnAddress1 = 0;
  hi2c1.Init.AddressingMode = I2C_ADDRESSINGMODE_7BIT;
  hi2c1.Init.DualAddressMode = I2C_DUALADDRESS_DISABLE;
  hi2c1.Init.OwnAddress2 = 0;
  hi2c1.Init.GeneralCallMode = I2C_GENERALCALL_DISABLE;
  hi2c1.Init.NoStretchMode = I2C_NOSTRETCH_DISABLE;
  if (HAL_I2C_Init(&hi2c1) != HAL_OK)
  {
    Error_Handler();
  }

}

static void MX_I2C2_Init(void)
{

  hi2c2.Instance = I2C2;
  hi2c2.Init.ClockSpeed = 400000;
  hi2c2.Init.DutyCycle = I2C_DUTYCYCLE_2;
  hi2c2.Init.OwnAddress1 = 0;
  hi2c2.Init.AddressingMode = I2C_ADDRESSINGMODE_7BIT;
  hi2c2.Init.DualAddressMode = I2C_DUALADDRESS_DISABLE;
  hi2c2.Init.OwnAddress2 = 0;
  hi2c2.Init.GeneralCallMode = I2C_GENERALCALL_DISABLE;
  hi2c2.Init.NoStretchMode = I2C_NOSTRETCH_DISABLE;
  if (HAL_I2C_Init(&hi2c2) != HAL_OK)
  {
    Error_Handler();
  }

}

static void MX_SPI1_Init(void)
{

  /* SPI1 parameter configuration*/
  hspi1.Instance = SPI1;
  hspi1.Init.Mode = SPI_MODE_MASTER;
  hspi1.Init.Direction = SPI_DIRECTION_2LINES;
  hspi1.Init.DataSize = SPI_DATASIZE_8BIT;
  hspi1.Init.CLKPolarity = SPI_POLARITY_LOW;
  hspi1.Init.CLKPhase = SPI_PHASE_1EDGE;
  hspi1.Init.NSS = SPI_NSS_SOFT;
  hspi1.Init.BaudRatePrescaler = SPI_BAUDRATEPRESCALER_32;
  hspi1.Init.FirstBit = SPI_FIRSTBIT_MSB;
  hspi1.Init.TIMode = SPI_TIMODE_DISABLE;
  hspi1.Init.CRCCalculation = SPI_CRCCALCULATION_DISABLE;
  hspi1.Init.CRCPolynomial = 10;
  if (HAL_SPI_Init(&hspi1) != HAL_OK)
  {
    Error_Handler();
  }

}

static void MX_TIM3_Init(void)
{

  TIM_MasterConfigTypeDef sMasterConfig = {0};
  TIM_OC_InitTypeDef sConfigOC = {0};

  htim3.Instance = TIM3;
  htim3.Init.Prescaler = 0;
  htim3.Init.CounterMode = TIM_COUNTERMODE_UP;
  htim3.Init.Period = 0;
  htim3.Init.ClockDivision = TIM_CLOCKDIVISION_DIV1;
  htim3.Init.AutoReloadPreload = TIM_AUTORELOAD_PRELOAD_DISABLE;
  if (HAL_TIM_PWM_Init(&htim3) != HAL_OK)
  {
    Error_Handler();
  }
  sMasterConfig.MasterOutputTrigger = TIM_TRGO_RESET;
  sMasterConfig.MasterSlaveMode = TIM_MASTERSLAVEMODE_DISABLE;
  if (HAL_TIMEx_MasterConfigSynchronization(&htim3, &sMasterConfig) != HAL_OK)
  {
    Error_Handler();
  }
  sConfigOC.OCMode = TIM_OCMODE_PWM1;
  sConfigOC.Pulse = 0;
  sConfigOC.OCPolarity = TIM_OCPOLARITY_HIGH;
  sConfigOC.OCFastMode = TIM_OCFAST_DISABLE;
  if (HAL_TIM_PWM_ConfigChannel(&htim3, &sConfigOC, TIM_CHANNEL_3) != HAL_OK)
  {
    Error_Handler();
  }
  HAL_TIM_MspPostInit(&htim3);

}

static void MX_USART1_UART_Init(void)
{

  huart1.Instance = USART1;
  huart1.Init.BaudRate = 115200;
  huart1.Init.WordLength = UART_WORDLENGTH_8B;
  huart1.Init.StopBits = UART_STOPBITS_1;
  huart1.Init.Parity = UART_PARITY_NONE;
  huart1.Init.Mode = UART_MODE_TX_RX;
  huart1.Init.HwFlowCtl = UART_HWCONTROL_NONE;
  huart1.Init.OverSampling = UART_OVERSAMPLING_16;
  if (HAL_UART_Init(&huart1) != HAL_OK)
  {
    Error_Handler();
  }

}

static void MX_USART2_UART_Init(void)
{

  huart2.Instance = USART2;
  huart2.Init.BaudRate = 115200;
  huart2.Init.WordLength = UART_WORDLENGTH_8B;
  huart2.Init.StopBits = UART_STOPBITS_1;
  huart2.Init.Parity = UART_PARITY_NONE;
  huart2.Init.Mode = UART_MODE_TX_RX;
  huart2.Init.HwFlowCtl = UART_HWCONTROL_NONE;
  huart2.Init.OverSampling = UART_OVERSAMPLING_16;
  if (HAL_UART_Init(&huart2) != HAL_OK)
  {
    Error_Handler();
  }

}

static void MX_GPIO_Init(void)
{
  GPIO_InitTypeDef GPIO_InitStruct = {0};

  /* GPIO Ports Clock Enable */
  __HAL_RCC_GPIOC_CLK_ENABLE();
  __HAL_RCC_GPIOD_CLK_ENABLE();
  __HAL_RCC_GPIOA_CLK_ENABLE();
  __HAL_RCC_GPIOB_CLK_ENABLE();

  /*Configure GPIO pin Output Level */
  HAL_GPIO_WritePin(GPIOC, LED_Pin|CSN_Pin|CE_Pin, GPIO_PIN_RESET);

  /*Configure GPIO pin Output Level */
  HAL_GPIO_WritePin(GPIOB, ON_Pin|MOS_Pin, GPIO_PIN_RESET);

  /*Configure GPIO pins : LED_Pin CSN_Pin CE_Pin */
  GPIO_InitStruct.Pin = LED_Pin|CSN_Pin|CE_Pin;
  GPIO_InitStruct.Mode = GPIO_MODE_OUTPUT_PP;
  GPIO_InitStruct.Pull = GPIO_NOPULL;
  GPIO_InitStruct.Speed = GPIO_SPEED_FREQ_LOW;
  HAL_GPIO_Init(GPIOC, &GPIO_InitStruct);

  /*Configure GPIO pins : BT_LD_Pin BT_LA_Pin BT_RS_Pin BT_RA_Pin
                           BT_RB_Pin BT_RC_Pin BT_LB_Pin VIN_Pin
                           BT_POWER_Pin */
  GPIO_InitStruct.Pin = BT_LD_Pin|BT_LA_Pin|BT_RS_Pin|BT_RA_Pin
                          |BT_RB_Pin|BT_RC_Pin|BT_LB_Pin|VIN_Pin
                          |BT_POWER_Pin;
  GPIO_InitStruct.Mode = GPIO_MODE_INPUT;
  GPIO_InitStruct.Pull = GPIO_NOPULL;
  HAL_GPIO_Init(GPIOB, &GPIO_InitStruct);

  /*Configure GPIO pins : BT_RD_Pin BT_LC_Pin */
  GPIO_InitStruct.Pin = BT_RD_Pin|BT_LC_Pin;
  GPIO_InitStruct.Mode = GPIO_MODE_INPUT;
  GPIO_InitStruct.Pull = GPIO_NOPULL;
  HAL_GPIO_Init(GPIOA, &GPIO_InitStruct);

  /*Configure GPIO pins : ON_Pin MOS_Pin */
  GPIO_InitStruct.Pin = ON_Pin|MOS_Pin;
  GPIO_InitStruct.Mode = GPIO_MODE_OUTPUT_PP;
  GPIO_InitStruct.Pull = GPIO_NOPULL;
  GPIO_InitStruct.Speed = GPIO_SPEED_FREQ_LOW;
  HAL_GPIO_Init(GPIOB, &GPIO_InitStruct);

}

void Error_Handler(void)
{
}

/************************ (C) COPYRIGHT STMicroelectronics *****END OF FILE****/
